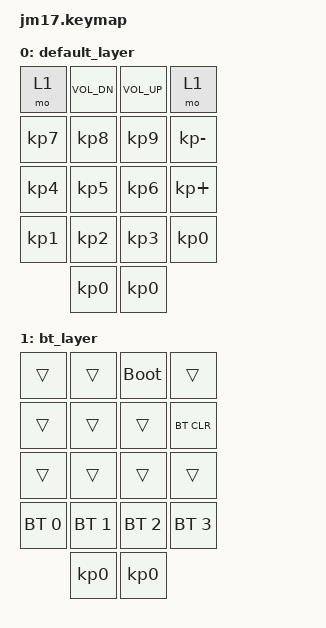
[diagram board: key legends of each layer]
/*
 * Copyright (c) 2020 The ZMK Contributors
 *
 * SPDX-License-Identifier: MIT
 */

#include <behaviors.dtsi>
#include <dt-bindings/zmk/keys.h>
#include <dt-bindings/zmk/bt.h>
#include <dt-bindings/zmk/rgb.h>
#include <dt-bindings/zmk/outputs.h>



/ {  
    keymap {
        compatible = "zmk,keymap";

        default_layer {
            bindings = <
                &mo 1         &kp C_VOL_DN    &kp C_VOL_UP    &mo 1
                &kp KP_N7       &kp KP_N8     &kp KP_N9     &kp KP_MINUS
                &kp KP_N4       &kp KP_N5     &kp KP_N6     &kp KP_PLUS
                &kp KP_N1       &kp KP_N2     &kp KP_N3     &kp KP_N0
                                 &kp KP_N0    &kp KP_N0
            >;
        }; 
        
        bt_layer {
            bindings = <
                &trans          &trans       &bootloader    &trans
                &trans          &trans       &trans         &bt BT_CLR
                &trans          &trans       &trans         &trans
                &bt BT_SEL 0    &bt BT_SEL 1 &bt BT_SEL 2   &bt BT_SEL 3
                               &kp KP_N0    &kp KP_N0
            >;
        };
    };
};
